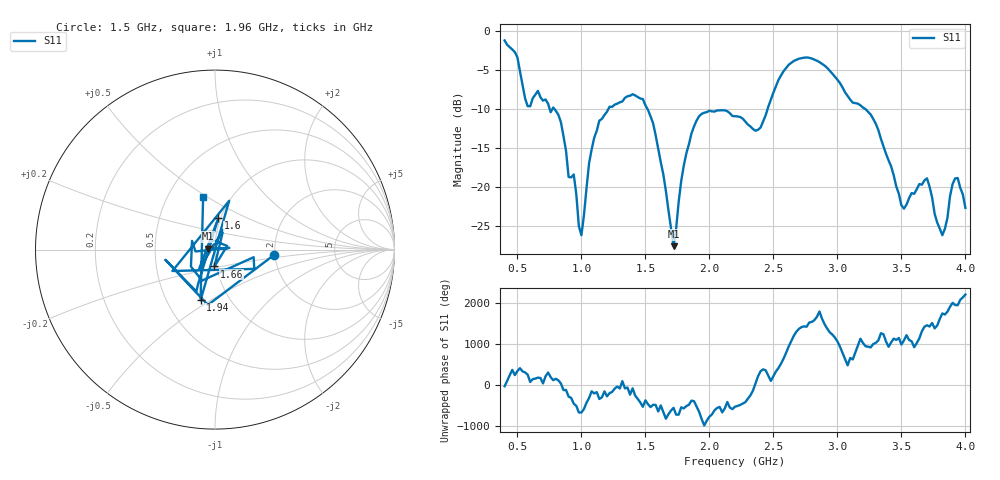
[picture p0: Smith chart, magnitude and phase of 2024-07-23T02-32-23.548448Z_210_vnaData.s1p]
!Created with skrf (http://scikit-rf.org).
# Hz S RI R 50.0
!freq ReS11 ImS11
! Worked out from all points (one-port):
!   181 points, 400 MHz to 4 GHz, reference 50 ohm
!   lowest |S11| = -27.6 dB at 1.72 GHz (marker M1), VSWR 1.09, Z = 46 + j0.543 ohm
!   |S11| at or under -10 dB: 787.1 MHz to 1.212 GHz (425.1 MHz wide, 42.5 % of centre); 1.515 GHz to 2.456 GHz (940.6 MHz wide, 47.4 % of centre); 3.214 GHz to end of sweep (the widest 3 of 4)
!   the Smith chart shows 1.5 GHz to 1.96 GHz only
!   S11 on the Smith chart (normalised r, x): 1.5 GHz: 1.98, -0.13; 1.6 GHz: 0.97, +0.35; 1.66 GHz: 0.98, -0.19; 1.94 GHz: 0.73, -0.45; 1.96 GHz: 0.75, +0.48
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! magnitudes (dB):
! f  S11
! 400 MHz  -1.3
! 500 MHz  -3.4
! 580 MHz  -9.7
! 660 MHz  -7.7
! 860 MHz  -13.5
! 940 MHz  -18.4
! 1 GHz  -26.2
! 1.1 GHz  -13.7
! 1.3 GHz  -9.2
! 1.5 GHz  -9.6
! 1.6 GHz  -15.1
! 1.66 GHz  -20.5
! 1.72 GHz  -27.6
! 1.76 GHz  -21.9
! 1.86 GHz  -13.2
! 1.94 GHz  -10.7
! 1.96 GHz  -10.5
! 2.2 GHz  -11.0
! 2.4 GHz  -12.4
! 2.66 GHz  -3.9
! 3.1 GHz  -8.8
! 3.3 GHz  -11.9
! 3.5 GHz  -22.4
! 3.56 GHz  -21.5
! 3.7 GHz  -18.9
! 3.82 GHz  -26.2
! 3.92 GHz  -18.9
! 4 GHz  -22.7
